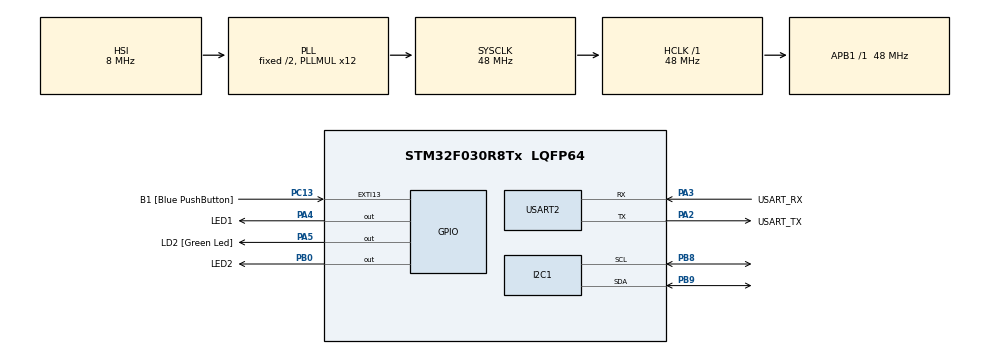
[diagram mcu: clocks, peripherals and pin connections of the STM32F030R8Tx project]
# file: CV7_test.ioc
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FREERTOS.Queues01=xVisualQueue,16,uint16_t,0,Dynamic,NULL,NULL
FREERTOS.Tasks01=defaultTask,0,128,StartDefaultTask,Default,NULL,Dynamic,NULL,NULL;VisualTask,-3,128,StartVisualTask,Default,NULL,Dynamic,NULL,NULL;AcceleroTask,-3,128,StartAcceleroTask,Default,NULL,Dynamic,NULL,NULL
I2C1.Timing=0x00201D2B
Mcu.Family=STM32F0
Mcu.Name=STM32F030R8Tx
Mcu.Package=LQFP64
NVIC.TIM14_IRQn=true\:3\:0\:false\:false\:true\:false\:false\:true\:true
NVIC.TimeBase=TIM14_IRQn
NVIC.TimeBaseIP=TIM14
PA13.GPIO_Label=TMS
PA13.Mode=Serial_Wire
PA13.Signal=SYS_SWDIO
PA14.GPIO_Label=TCK
PA14.Mode=Serial_Wire
PA14.Signal=SYS_SWCLK
PA2.GPIO_Label=USART_TX
PA2.GPIO_Mode=GPIO_MODE_AF_PP
PA2.GPIO_PuPd=GPIO_NOPULL
PA2.GPIO_Speed=GPIO_SPEED_FREQ_LOW
PA2.Mode=Asynchronous
PA2.Signal=USART2_TX
PA3.GPIO_Label=USART_RX
PA3.GPIO_Mode=GPIO_MODE_AF_PP
PA3.GPIO_PuPd=GPIO_NOPULL
PA3.GPIO_Speed=GPIO_SPEED_FREQ_LOW
PA3.Mode=Asynchronous
PA3.Signal=USART2_RX
PA4.GPIO_Label=LED1
PA4.Signal=GPIO_Output
PA5.GPIO_Label=LD2 [Green Led]
PA5.GPIO_Mode=GPIO_MODE_OUTPUT_PP
PA5.GPIO_PuPd=GPIO_NOPULL
PA5.GPIO_Speed=GPIO_SPEED_FREQ_LOW
PA5.Signal=GPIO_Output
PB0.GPIO_Label=LED2
PB0.Signal=GPIO_Output
PB8.Mode=I2C
PB8.Signal=I2C1_SCL
PB9.Mode=I2C
PB9.Signal=I2C1_SDA
PC13.GPIO_Label=B1 [Blue PushButton]
PC13.GPIO_ModeDefaultEXTI=GPIO_MODE_IT_FALLING
PC13.Signal=GPXTI13
PC14-OSC32_IN.Mode=LSE-External-Oscillator
PC14-OSC32_IN.Signal=RCC_OSC32_IN
PC15-OSC32_OUT.Mode=LSE-External-Oscillator
PC15-OSC32_OUT.Signal=RCC_OSC32_OUT
PF0-OSC_IN.Mode=HSE-External-Clock-Source
PF0-OSC_IN.Signal=RCC_OSC_IN
PF1-OSC_OUT.Signal=RCC_OSC_OUT
ProjectManager.HeapSize=0x200
ProjectManager.StackSize=0x400
ProjectManager.TargetToolchain=STM32CubeIDE
RCC.AHBFreq_Value=48000000
RCC.APB1Freq_Value=48000000
RCC.APB1TimFreq_Value=48000000
RCC.HCLKFreq_Value=48000000
RCC.PLLMUL=RCC_PLL_MUL12
RCC.SYSCLKFreq_VALUE=48000000
RCC.SYSCLKSource=RCC_SYSCLKSOURCE_PLLCLK
USART2.VirtualMode-Asynchronous=VM_ASYNC
VP_FREERTOS_VS_CMSIS_V1.Mode=CMSIS_V1
VP_SYS_VS_tim14.Mode=TIM14
board=NUCLEO-F030R8

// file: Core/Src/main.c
/* USER CODE BEGIN Header */
/**
 ******************************************************************************
 * @file           : main.c
 * @brief          : Main program body
 ******************************************************************************
 * @attention
 *
 * Copyright (c) 2025 STMicroelectronics.
 * All rights reserved.
 *
 * This software is licensed under terms that can be found in the LICENSE file
 * in the root directory of this software component.
 * If no LICENSE file comes with this software, it is provided AS-IS.
 *
 ******************************************************************************
 */
/* USER CODE END Header */
#include "main.h"
#include "cmsis_os.h"

/* USER CODE BEGIN Includes */
#include <stdio.h>
#include "lis2dw12_reg.h"
/* USER CODE END Includes */

I2C_HandleTypeDef hi2c1;

UART_HandleTypeDef huart2;

osThreadId defaultTaskHandle;
osThreadId VisualTaskHandle;
osThreadId AcceleroTaskHandle;
osMessageQId xVisualQueueHandle;

void SystemClock_Config(void);
static void MX_GPIO_Init(void);
static void MX_USART2_UART_Init(void);
static void MX_I2C1_Init(void);
void StartDefaultTask(void const * argument);
void StartVisualTask(void const * argument);
void StartAcceleroTask(void const * argument);

/* USER CODE BEGIN 0 */
static int32_t platform_write(void *handle, uint8_t reg, const uint8_t *bufp, uint16_t len)
{
  if (HAL_I2C_Mem_Write((I2C_HandleTypeDef *)handle,
                        LIS2DW12_I2C_ADD_H,
                        reg,
                        I2C_MEMADD_SIZE_8BIT,
                        (uint8_t *)bufp,
                        len, 1000) == HAL_OK)
    return 0;
  return -1;
}

static int32_t platform_read(void *handle, uint8_t reg, uint8_t *bufp, uint16_t len)
{
  HAL_I2C_Mem_Read(handle, LIS2DW12_I2C_ADD_H, reg, I2C_MEMADD_SIZE_8BIT, bufp, len, 1000);
  return 0;
}

static stmdev_ctx_t lis2dw12 = {
    .write_reg = platform_write,
    .read_reg = platform_read,
    .handle = &hi2c1,
};

int _write(int file, char const *buf, int n)
{
  HAL_UART_Transmit(&huart2, (uint8_t *)(buf), n, HAL_MAX_DELAY);
  return n;
}
/* USER CODE END 0 */

int main(void)
{

  /* MCU Configuration--------------------------------------------------------*/

  /* Reset of all peripherals, Initializes the Flash interface and the Systick. */
  HAL_Init();

  /* Configure the system clock */
  SystemClock_Config();

  /* Initialize all configured peripherals */
  MX_GPIO_Init();
  MX_USART2_UART_Init();
  MX_I2C1_Init();

  /* Create the queue(s) */
  /* definition and creation of xVisualQueue */
  osMessageQDef(xVisualQueue, 16, uint16_t);
  xVisualQueueHandle = osMessageCreate(osMessageQ(xVisualQueue), NULL);

  /* Create the thread(s) */
  /* definition and creation of defaultTask */
  osThreadDef(defaultTask, StartDefaultTask, osPriorityNormal, 0, 128);
  defaultTaskHandle = osThreadCreate(osThread(defaultTask), NULL);

  /* definition and creation of VisualTask */
  osThreadDef(VisualTask, StartVisualTask, osPriorityIdle, 0, 128);
  VisualTaskHandle = osThreadCreate(osThread(VisualTask), NULL);

  /* definition and creation of AcceleroTask */
  osThreadDef(AcceleroTask, StartAcceleroTask, osPriorityIdle, 0, 128);
  AcceleroTaskHandle = osThreadCreate(osThread(AcceleroTask), NULL);

  /* Start scheduler */
  osKernelStart();

  /* We should never get here as control is now taken by the scheduler */

  /* Infinite loop */
  while (1)
  {

  }
}

void SystemClock_Config(void)
{
  RCC_OscInitTypeDef RCC_OscInitStruct = {0};
  RCC_ClkInitTypeDef RCC_ClkInitStruct = {0};
  RCC_PeriphCLKInitTypeDef PeriphClkInit = {0};

  /** Initializes the RCC Oscillators according to the specified parameters
  * in the RCC_OscInitTypeDef structure.
  */
  RCC_OscInitStruct.OscillatorType = RCC_OSCILLATORTYPE_HSI;
  RCC_OscInitStruct.HSIState = RCC_HSI_ON;
  RCC_OscInitStruct.HSICalibrationValue = RCC_HSICALIBRATION_DEFAULT;
  RCC_OscInitStruct.PLL.PLLState = RCC_PLL_ON;
  RCC_OscInitStruct.PLL.PLLSource = RCC_PLLSOURCE_HSI;
  RCC_OscInitStruct.PLL.PLLMUL = RCC_PLL_MUL12;
  RCC_OscInitStruct.PLL.PREDIV = RCC_PREDIV_DIV1;
  if (HAL_RCC_OscConfig(&RCC_OscInitStruct) != HAL_OK)
  {
    Error_Handler();
  }

  /** Initializes the CPU, AHB and APB buses clocks
  */
  RCC_ClkInitStruct.ClockType = RCC_CLOCKTYPE_HCLK|RCC_CLOCKTYPE_SYSCLK
                              |RCC_CLOCKTYPE_PCLK1;
  RCC_ClkInitStruct.SYSCLKSource = RCC_SYSCLKSOURCE_PLLCLK;
  RCC_ClkInitStruct.AHBCLKDivider = RCC_SYSCLK_DIV1;
  RCC_ClkInitStruct.APB1CLKDivider = RCC_HCLK_DIV1;

  if (HAL_RCC_ClockConfig(&RCC_ClkInitStruct, FLASH_LATENCY_1) != HAL_OK)
  {
    Error_Handler();
  }
  PeriphClkInit.PeriphClockSelection = RCC_PERIPHCLK_I2C1;
  PeriphClkInit.I2c1ClockSelection = RCC_I2C1CLKSOURCE_HSI;
  if (HAL_RCCEx_PeriphCLKConfig(&PeriphClkInit) != HAL_OK)
  {
    Error_Handler();
  }
}

static void MX_I2C1_Init(void)
{

  hi2c1.Instance = I2C1;
  hi2c1.Init.Timing = 0x00201D2B;
  hi2c1.Init.OwnAddress1 = 0;
  hi2c1.Init.AddressingMode = I2C_ADDRESSINGMODE_7BIT;
  hi2c1.Init.DualAddressMode = I2C_DUALADDRESS_DISABLE;
  hi2c1.Init.OwnAddress2 = 0;
  hi2c1.Init.OwnAddress2Masks = I2C_OA2_NOMASK;
  hi2c1.Init.GeneralCallMode = I2C_GENERALCALL_DISABLE;
  hi2c1.Init.NoStretchMode = I2C_NOSTRETCH_DISABLE;
  if (HAL_I2C_Init(&hi2c1) != HAL_OK)
  {
    Error_Handler();
  }

  /** Configure Analogue filter
  */
  if (HAL_I2CEx_ConfigAnalogFilter(&hi2c1, I2C_ANALOGFILTER_ENABLE) != HAL_OK)
  {
    Error_Handler();
  }

  /** Configure Digital filter
  */
  if (HAL_I2CEx_ConfigDigitalFilter(&hi2c1, 0) != HAL_OK)
  {
    Error_Handler();
  }

}

static void MX_USART2_UART_Init(void)
{

  huart2.Instance = USART2;
  huart2.Init.BaudRate = 38400;
  huart2.Init.WordLength = UART_WORDLENGTH_8B;
  huart2.Init.StopBits = UART_STOPBITS_1;
  huart2.Init.Parity = UART_PARITY_NONE;
  huart2.Init.Mode = UART_MODE_TX_RX;
  huart2.Init.HwFlowCtl = UART_HWCONTROL_NONE;
  huart2.Init.OverSampling = UART_OVERSAMPLING_16;
  huart2.Init.OneBitSampling = UART_ONE_BIT_SAMPLE_DISABLE;
  huart2.AdvancedInit.AdvFeatureInit = UART_ADVFEATURE_NO_INIT;
  if (HAL_UART_Init(&huart2) != HAL_OK)
  {
    Error_Handler();
  }

}

static void MX_GPIO_Init(void)
{
  GPIO_InitTypeDef GPIO_InitStruct = {0};

  /* GPIO Ports Clock Enable */
  __HAL_RCC_GPIOC_CLK_ENABLE();
  __HAL_RCC_GPIOF_CLK_ENABLE();
  __HAL_RCC_GPIOA_CLK_ENABLE();
  __HAL_RCC_GPIOB_CLK_ENABLE();

  /*Configure GPIO pin Output Level */
  HAL_GPIO_WritePin(GPIOA, LED1_Pin|LD2_Pin, GPIO_PIN_RESET);

  /*Configure GPIO pin Output Level */
  HAL_GPIO_WritePin(LED2_GPIO_Port, LED2_Pin, GPIO_PIN_RESET);

  /*Configure GPIO pin : B1_Pin */
  GPIO_InitStruct.Pin = B1_Pin;
  GPIO_InitStruct.Mode = GPIO_MODE_IT_FALLING;
  GPIO_InitStruct.Pull = GPIO_NOPULL;
  HAL_GPIO_Init(B1_GPIO_Port, &GPIO_InitStruct);

  /*Configure GPIO pins : LED1_Pin LD2_Pin */
  GPIO_InitStruct.Pin = LED1_Pin|LD2_Pin;
  GPIO_InitStruct.Mode = GPIO_MODE_OUTPUT_PP;
  GPIO_InitStruct.Pull = GPIO_NOPULL;
  GPIO_InitStruct.Speed = GPIO_SPEED_FREQ_LOW;
  HAL_GPIO_Init(GPIOA, &GPIO_InitStruct);

  /*Configure GPIO pin : LED2_Pin */
  GPIO_InitStruct.Pin = LED2_Pin;
  GPIO_InitStruct.Mode = GPIO_MODE_OUTPUT_PP;
  GPIO_InitStruct.Pull = GPIO_NOPULL;
  GPIO_InitStruct.Speed = GPIO_SPEED_FREQ_LOW;
  HAL_GPIO_Init(LED2_GPIO_Port, &GPIO_InitStruct);

}

void StartDefaultTask(void const * argument)
{
  for (;;)
  {
    osDelay(1);
  }
}

void StartVisualTask(void const * argument)
{
  /* USER CODE BEGIN StartVisualTask */
  /* Infinite loop */
  int16_t msg;
  for (;;)
  {
    if (xQueueReceive(xVisualQueueHandle, &msg, portMAX_DELAY))
    {
      if (msg < -1000)
      {
        HAL_GPIO_WritePin(LED1_GPIO_Port, LED1_Pin, GPIO_PIN_SET);
        HAL_GPIO_WritePin(LED2_GPIO_Port, LED2_Pin, GPIO_PIN_RESET);
      }

      else if (msg > 1000)
      {
        HAL_GPIO_WritePin(LED1_GPIO_Port, LED1_Pin, GPIO_PIN_RESET);
        HAL_GPIO_WritePin(LED2_GPIO_Port, LED2_Pin, GPIO_PIN_SET);
      }

      else
      {
        HAL_GPIO_WritePin(LED1_GPIO_Port, LED1_Pin, GPIO_PIN_RESET);
        HAL_GPIO_WritePin(LED2_GPIO_Port, LED2_Pin, GPIO_PIN_RESET);
      }
    }
    osDelay(1);//ne musi
  }
  /* USER CODE END StartVisualTask */
}

void StartAcceleroTask(void const * argument)
{
  /* USER CODE BEGIN StartAcceleroTask */
	  lis2dw12_full_scale_set(&lis2dw12, LIS2DW12_2g);
	  lis2dw12_power_mode_set(&lis2dw12, LIS2DW12_CONT_LOW_PWR_LOW_NOISE_2);
	  lis2dw12_block_data_update_set(&lis2dw12, PROPERTY_ENABLE);
	  // enable continuous FIFO
	  lis2dw12_fifo_mode_set(&lis2dw12, LIS2DW12_STREAM_MODE);
	  // enable part from power-down
	  lis2dw12_data_rate_set(&lis2dw12, LIS2DW12_XL_ODR_25Hz);

	  uint8_t ID = 0;
	  lis2dw12_device_id_get(&lis2dw12, &ID);
	  printf("LIS2DW12_ID %s\n", (ID == LIS2DW12_ID) ? "OK" : "FAIL");
	  /* Infinite loop */

	  for (;;)
	  {
	    uint8_t samples;
	    int16_t raw_xyz[3];
	    lis2dw12_fifo_data_level_get(&lis2dw12, &samples);
	    for (uint8_t i = 0; i < samples; i++)
	    {
	      // Read acceleration data
	      lis2dw12_acceleration_raw_get(&lis2dw12, raw_xyz);
	      static uint32_t delay = 0;

	      if (HAL_GetTick() > delay + 1000)
	      {
	        printf("X=%d Y=%d Z=%d\r\n", raw_xyz[0], raw_xyz[1], raw_xyz[2]);
	        delay = HAL_GetTick();
	      }
	    }

	    if (samples > 0)
	    {
	      int16_t x = raw_xyz[0];
	      xQueueSend(xVisualQueueHandle, &x, 0);
	    }

	    vTaskDelay(50);
	  }
  /* USER CODE END StartAcceleroTask */
}

void HAL_TIM_PeriodElapsedCallback(TIM_HandleTypeDef *htim)
{
  if (htim->Instance == TIM14)
  {
    HAL_IncTick();
  }
}

void Error_Handler(void)
{
  __disable_irq();
  while (1)
  {
  }
}
